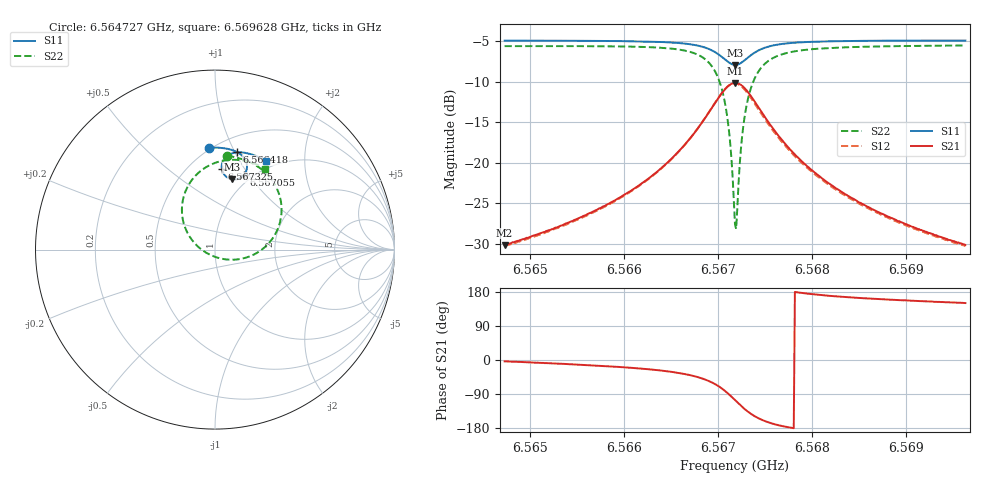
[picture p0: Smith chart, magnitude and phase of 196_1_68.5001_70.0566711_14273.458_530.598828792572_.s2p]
#  HZ  S  RI  R  50.00
! Rohde & Schwarz Vector Network Analyzer
! Rohde-Schwarz,ZNB20-2Port,1311601062101988,3.16
! Created: UTC 3/20/2024, 5:12:32 PM
! freq[Hz]  re:S11  im:S11  re:S21  im:S21  re:S12  im:S12  re:S22  im:S22
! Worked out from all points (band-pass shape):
!   401 points, 6.564727 GHz to 6.569628 GHz, reference 50 ohm
!   highest |S21| = -10.11 dB at 6.567178 GHz (marker M1); lowest = -30.2 dB at 6.564727 GHz (marker M2)
!   |S21| within 3 dB of the highest: 6.566937 GHz to 6.567426 GHz (488.5 kHz wide, 0.00744 % of centre)
!   lowest |S11| = -7.9 dB at 6.567178 GHz (marker M3), VSWR 2.35, Z = 43 + j40.2 ohm
!   |S11| at or under -10 dB: nowhere
!   |S22| runs from -28.2 to -5.5 dB; largest |S21 - S12| = 0.016
!   S11 on the Smith chart (normalised r, x): 6.564727 GHz: 0.49, +0.82; 6.566418 GHz: 0.64, +1.02; 6.567055 GHz: 0.92, +0.94; 6.567325 GHz: 0.70, +0.80; 6.569628 GHz: 0.89, +1.30
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6.5647273e9  -0.0338 0.568  0.0309 -0.00197  0.0304 -0.00242  0.0676 0.5221
6.5655481e9  0.0348 0.5666  0.0451 -0.0101  0.0445 -0.0108  0.1497 0.5047
6.5660014e9  0.0768 0.5598  0.0599 -0.021  0.0589 -0.0217  0.2075 0.4807
6.5663689e9  0.1154 0.5471  0.0799 -0.0413  0.079 -0.0421  0.2696 0.4391
6.5664179e9  0.1211 0.5444  0.0836 -0.0456  0.0825 -0.0466  0.2796 0.4304
6.5666752e9  0.1532 0.521  0.1062 -0.0849  0.1045 -0.0867  0.3382 0.3534
6.566859e9  0.1749 0.4852  0.1177 -0.1477  0.1147 -0.1508  0.3708 0.2323
6.5669692e9  0.1769 0.4483  0.1028 -0.2123  0.0971 -0.2168  0.3471 0.109
6.567055e9  0.1595 0.4135  0.0556 -0.2717  0.0455 -0.2751  0.2593 -0.00139
6.5671163e9  0.1311 0.3944  -0.00693 -0.3016  -0.0204 -0.3012  0.1431 -0.052
6.5671653e9  0.1013 0.3907  -0.0691 -0.3037  -0.0832 -0.2985  0.0305 -0.0495
6.5671775e9  0.0935 0.3917  -0.0849 -0.3003  -0.0986 -0.2939  0.00282 -0.0414
6.5671898e9  0.0859 0.3937  -0.1002 -0.2953  -0.1136 -0.2877  -0.024 -0.0308
6.567202e9  0.0787 0.3966  -0.1148 -0.289  -0.1278 -0.2801  -0.0492 -0.0173
6.5672388e9  0.0597 0.4091  -0.1536 -0.2623  -0.1636 -0.2505  -0.1133 0.0355
6.5672633e9  0.0501 0.4201  -0.1731 -0.24  -0.1811 -0.2272  -0.1445 0.0774
6.5673245e9  0.0379 0.4505  -0.2005 -0.1799  -0.2032 -0.1668  -0.1824 0.1865
6.5674225e9  0.0438 0.4916  -0.1983 -0.1005  -0.196 -0.0908  -0.1647 0.3242
6.5675695e9  0.0716 0.5245  -0.1623 -0.0362  -0.1588 -0.0308  -0.0878 0.4317
6.5679983e9  0.1403 0.5422  -0.089 0.00979  -0.0867 0.0111  0.0712 0.4991
6.5688192e9  0.2212 0.5241  -0.0431 0.0163  -0.0421 0.0166  0.204 0.4841
6.5696277e9  0.2828 0.4957  -0.027 0.0154  -0.0263 0.0154  0.2802 0.4516
